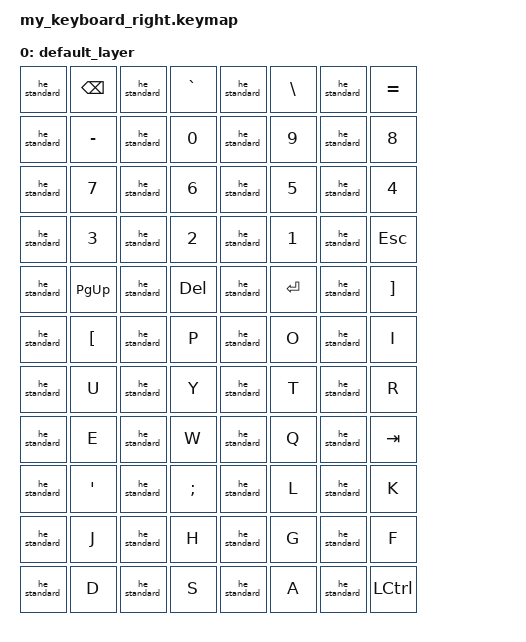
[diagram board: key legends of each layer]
#include <behaviors.dtsi>
#include <dt-bindings/zmk/keys.h>
#include <dt-bindings/zmk/rgb.h>

/ {
    behaviors {
        /* Define a custom actuation: Press at 2.0mm (50%), Release at 1.8mm (45%) */
        he_standard: he_standard {
            compatible = "he,behavior-adjustable-actuation";
            #binding-cells = <0>;
            press-threshold-percent = <50>;
            release-threshold-percent = <45>;
        };
    };

    keymap {
        compatible = "zmk,keymap";
        default_layer {
            // Right half keymap - mirrored layout from left half for standard split keyboard
            // The bindings list must contain exactly 44 entries (matches overlay map)
            // Each analog key uses &he_standard &kp <keycode> for Hall Effect actuation
            bindings = <
                /* Row 0 (Mux 0): 16 keys - Mirrored number row (right side) */
                &he_standard &kp BSPC &he_standard &kp GRAVE &he_standard &kp BSLH &he_standard &kp EQUAL
                &he_standard &kp MINUS &he_standard &kp N0 &he_standard &kp N9 &he_standard &kp N8
                &he_standard &kp N7 &he_standard &kp N6 &he_standard &kp N5 &he_standard &kp N4
                &he_standard &kp N3 &he_standard &kp N2 &he_standard &kp N1 &he_standard &kp ESC

                /* Row 1 (Mux 1): 16 keys - Mirrored QWERTY row */
                &he_standard &kp PG_UP &he_standard &kp DEL &he_standard &kp RET &he_standard &kp RBKT
                &he_standard &kp LBKT &he_standard &kp P &he_standard &kp O &he_standard &kp I
                &he_standard &kp U &he_standard &kp Y &he_standard &kp T &he_standard &kp R
                &he_standard &kp E &he_standard &kp W &he_standard &kp Q &he_standard &kp TAB

                /* Row 2 (Mux 2): 12 keys (channels 0-11) - Mirrored home row */
                &he_standard &kp SQT &he_standard &kp SEMI &he_standard &kp L &he_standard &kp K
                &he_standard &kp J &he_standard &kp H &he_standard &kp G &he_standard &kp F
                &he_standard &kp D &he_standard &kp S &he_standard &kp A &he_standard &kp LCTRL
            >;
            // Total: 16 + 16 + 12 = 44 keys (matches overlay map entries)
            // Note: This is a mirrored layout. Adjust keycodes to match your physical right-half plate design.
        };
    };
};
